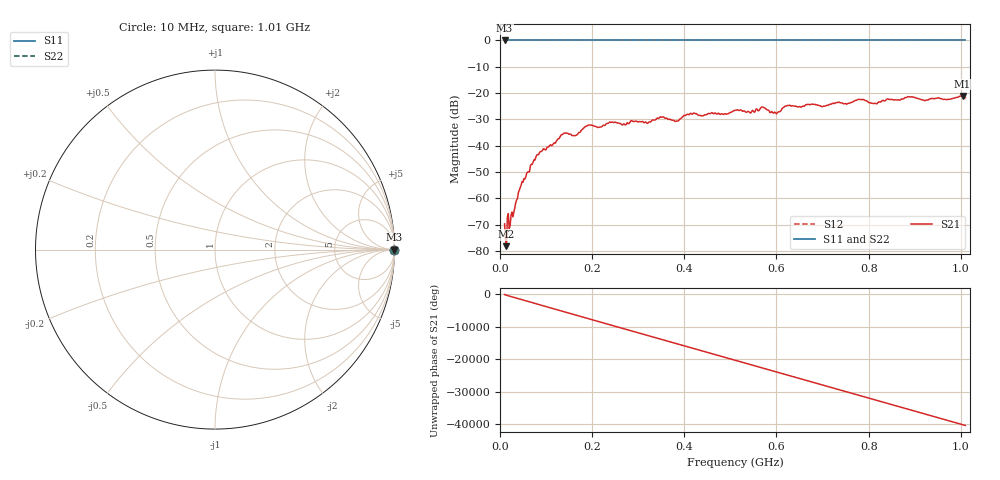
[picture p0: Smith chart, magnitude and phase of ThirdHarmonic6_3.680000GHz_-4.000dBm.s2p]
! 8/17/2025 12:27:27 PM
! C:\ANRITSUVNA\TEMP\TEMP.S2P
! CHANNEL.1
! TR.MEASUREMENT
! RAW.DATA
! RF.CORRECTION.OFF
! AVERAGING.OFF
! IF.BANDWIDTH: 5KHZ
! SWEEPTYPE:  FREQ.SWEEP(Linear)
! Reference Plane Port Info
! PORT:  PORT1  PORT2
! DISTANCE:  0  m  0  m
! TIME:  0  s  0  s
! PHASE.OFFSET:  0  deg.  0  deg.
! LOSS:  0  dB  0  dB
! REF.LOSS:  0  dB  0  dB
! REF.FREQ:  0  Hz  0  Hz
! Power Info
! POWER:  -20  dBm  -20  dBm
! EFF.POWER:  -20  dBm  -20  dBm
! SOURCE.ATTEN:  0  dB  0  dB
! TEST.ATTEN:  0  dB  0  dB
# GHZ S RI R 50.0
! FREQ.GHZ  S11RE  S11IM  S21RE  S21IM  S12RE  S12IM  S22RE  S22IM
!; PortSelection: Port_12
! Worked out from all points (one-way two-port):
!   501 points, 10 MHz to 1.01 GHz, reference 50 ohm
!   highest |S21| = -21.09 dB at 1.004 GHz (marker M1); lowest = -78.1 dB at 14 MHz (marker M2)
!   lowest |S11| = 0.0 dB at 10 MHz (marker M3)
!   |S11| at or under -10 dB: nowhere
!   |S22| runs from 0.0 to 0.0 dB; largest |S21 - S12| = 1.1
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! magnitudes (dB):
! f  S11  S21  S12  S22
! 10 MHz  0.0  -69.7  0.0  0.0
! 14 MHz  0.0  -78.1  0.0  0.0
! 24 MHz  0.0  -66.3  0.0  0.0
! 44 MHz  0.0  -55.8  0.0  0.0
! 82 MHz  0.0  -43.4  0.0  0.0
! 136 MHz  0.0  -35.7  0.0  0.0
! 162 MHz  0.0  -36.1  0.0  0.0
! 178 MHz  0.0  -33.9  0.0  0.0
! 194 MHz  0.0  -32.1  0.0  0.0
! 322 MHz  0.0  -31.2  0.0  0.0
! 344 MHz  0.0  -29.6  0.0  0.0
! 384 MHz  0.0  -30.6  0.0  0.0
! 410 MHz  0.0  -28.3  0.0  0.0
! 510 MHz  0.0  -26.5  0.0  0.0
! 570 MHz  0.0  -25.3  0.0  0.0
! 598 MHz  0.0  -27.5  0.0  0.0
! 622 MHz  0.0  -24.8  0.0  0.0
! 678 MHz  0.0  -24.2  0.0  0.0
! 814 MHz  0.0  -23.9  0.0  0.0
! 844 MHz  0.0  -22.4  0.0  0.0
! 1.004 GHz  0.0  -21.1  0.0  0.0
! 1.01 GHz  0.0  -21.8  0.0  0.0
